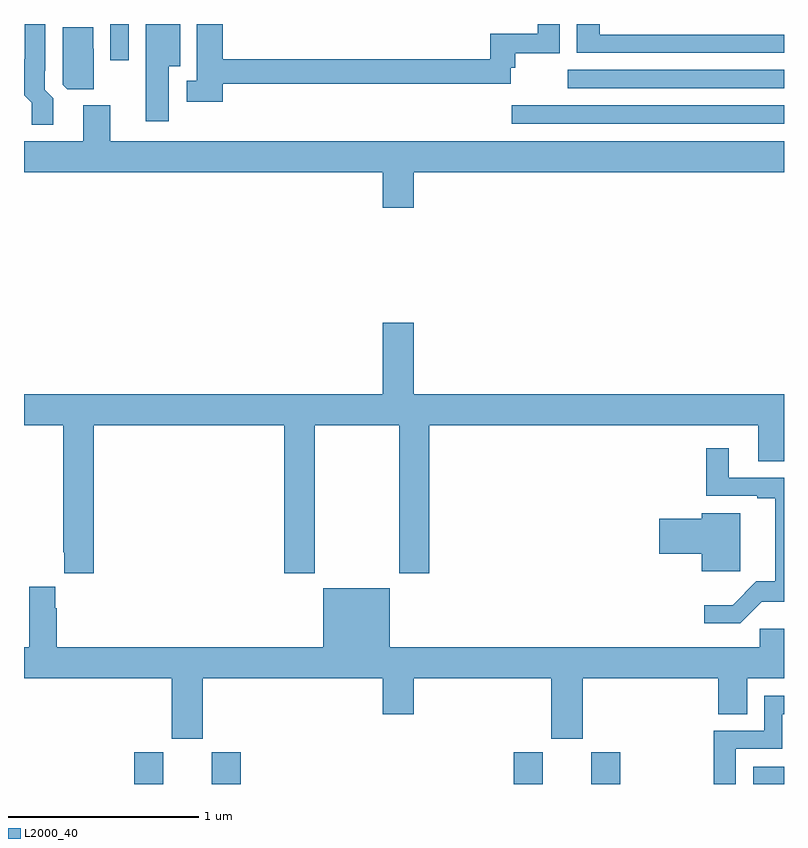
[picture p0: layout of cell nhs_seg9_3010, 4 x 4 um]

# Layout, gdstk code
import gdstk
lib = gdstk.Library(unit=1e-6, precision=1e-09)
def R(c, l, rs):  # rectangles x0, y0, x1, y1
    for r in rs: c.add(gdstk.rectangle(r[:2], r[2:], *l))
def P(c, l, *ps):  # polygons
    for p in ps: c.add(gdstk.Polygon(p, *l))
L2000_40 = (2000, 40)

nhs_seg9_3010 = lib.new_cell('nhs_seg9_3010')
R(nhs_seg9_3010, L2000_40, [(283.58,1226.5,283.732,1226.667), (283.988,1226.5,284.141,1226.667), (285.578,1226.5,285.73,1226.667), (285.986,1226.5,286.139,1226.667), (286.839,1226.5,287,1226.592), (285.567,1229.976,287,1230.072), (285.861,1230.162,287,1230.258), (283.455,1230.309,283.551,1230.5)])
P(nhs_seg9_3010, L2000_40, [(287,1230.444),(286.029,1230.444),(286.029,1230.5),(285.908,1230.5),(285.908,1230.348),(287,1230.348)],
  [(284.045,1230.186),(285.561,1230.186),(285.561,1230.27),(285.586,1230.27),(285.586,1230.345),(285.819,1230.345),(285.819,1230.5),(285.703,1230.5),(285.703,1230.448),(285.453,1230.448),(285.453,1230.314),(284.045,1230.314),(284.045,1230.5),(283.91,1230.5),(283.91,1230.202),(283.857,1230.202),(283.857,1230.092),(284.045,1230.092)],
  [(283.153,1230.11),(283.11,1230.153),(283.11,1230.253),(283.113,1230.253),(283.113,1230.5),(283.005,1230.5),(283.005,1230.314),(283.002,1230.314),(283.002,1230.124),(283.041,1230.086),(283.041,1229.97),(283.153,1229.97)],
  [(283.762,1230.278),(283.822,1230.278),(283.822,1230.5),(283.64,1230.5),(283.64,1229.988),(283.762,1229.988)],
  [(283.366,1230.371),(283.365,1230.371),(283.365,1230.482),(283.203,1230.482),(283.203,1230.18),(283.227,1230.157),(283.366,1230.157)],
  [(285.052,1229.72),(287,1229.72),(287,1229.884),(283.453,1229.884),(283.453,1230.072),(283.313,1230.072),(283.313,1229.884),(283,1229.884),(283,1229.72),(284.888,1229.72),(284.888,1229.532),(285.052,1229.532)],
  [(283.367,1228.388),(284.369,1228.388),(284.369,1227.609),(284.529,1227.609),(284.529,1228.388),(284.974,1228.388),(284.974,1227.609),(285.134,1227.609),(285.134,1228.388),(286.865,1228.388),(286.865,1228.198),(287,1228.198),(287,1228.552),(285.052,1228.552),(285.052,1228.927),(284.888,1228.927),(284.888,1228.552),(283,1228.552),(283,1228.388),(283.207,1228.388),(283.207,1227.721),(283.211,1227.721),(283.211,1227.609),(283.367,1227.609)],
  [(286.883,1227.458),(287,1227.458),(287,1228.113),(286.708,1228.113),(286.708,1228.267),(286.591,1228.267),(286.591,1228.017),(286.859,1228.017),(286.859,1228.005),(286.955,1228.005),(286.955,1227.568),(286.855,1227.568),(286.729,1227.442),(286.581,1227.442),(286.581,1227.345),(286.77,1227.345)],
  [(286.771,1227.925),(286.568,1227.925),(286.568,1227.896),(286.344,1227.896),(286.344,1227.713),(286.568,1227.713),(286.568,1227.62),(286.771,1227.62)],
  [(283.942,1227.056),(284.888,1227.056),(284.888,1226.868),(285.052,1226.868),(285.052,1227.056),(285.776,1227.056),(285.776,1226.739),(285.94,1226.739),(285.94,1227.056),(286.655,1227.056),(286.655,1226.866),(286.807,1226.866),(286.807,1227.056),(287,1227.056),(287,1227.318),(286.872,1227.318),(286.872,1227.22),(284.926,1227.22),(284.926,1227.529),(284.576,1227.529),(284.576,1227.22),(283.172,1227.22),(283.172,1227.425),(283.165,1227.425),(283.165,1227.538),(283.028,1227.538),(283.028,1227.22),(283,1227.22),(283,1227.056),(283.778,1227.056),(283.778,1226.739),(283.942,1226.739)],
  [(286.746,1226.685),(286.992,1226.685),(286.992,1226.868),(287,1226.868),(287,1226.964),(286.896,1226.964),(286.896,1226.781),(286.63,1226.781),(286.63,1226.5),(286.746,1226.5)])

lib.write_gds('nhs_seg9_3010.gds')
